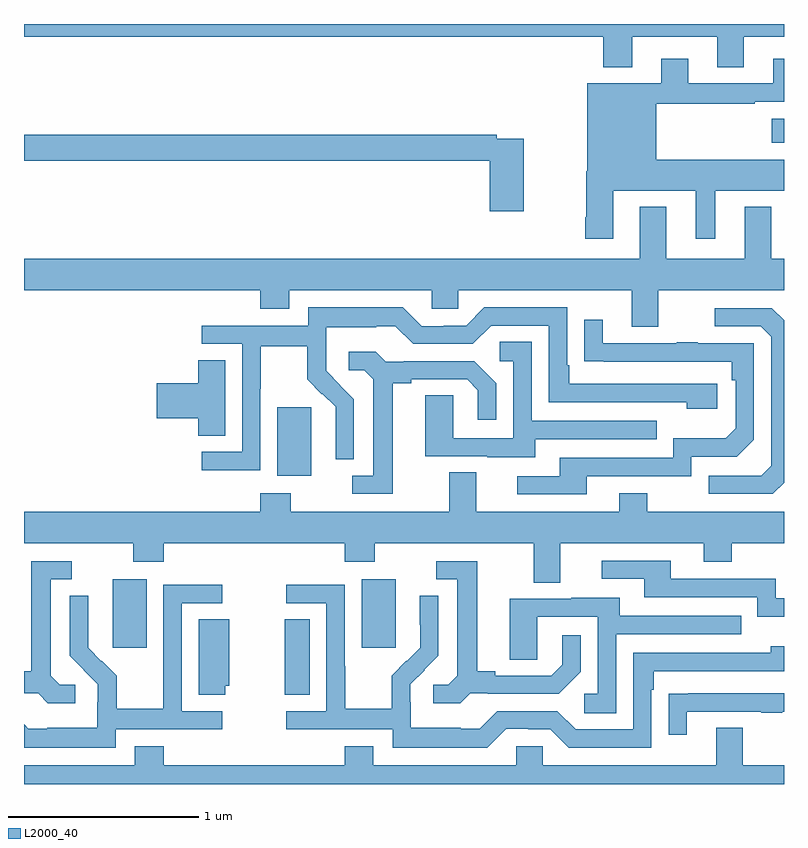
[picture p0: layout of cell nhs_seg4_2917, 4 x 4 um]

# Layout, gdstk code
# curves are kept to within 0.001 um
import gdstk
lib = gdstk.Library(unit=1e-6, precision=1e-09)
def R(c, l, rs):  # rectangles x0, y0, x1, y1
    for r in rs: c.add(gdstk.rectangle(r[:2], r[2:], *l))
def P(c, l, *ps):  # polygons
    for p in ps: c.add(gdstk.Polygon(p, *l))
L2000_40 = (2000, 40)

nhs_seg4_2917 = lib.new_cell('nhs_seg4_2917')
R(nhs_seg4_2917, L2000_40, [(266.372,781.369,266.503,781.766), (265.466,781.617,265.645,781.978), (266.777,781.617,266.956,781.978), (266.333,782.522,266.512,782.883), (268.935,784.274,269,784.402)])
P(nhs_seg4_2917, L2000_40, [(268.789,784.832),(269,784.832),(269,784.9),(265,784.9),(265,784.832),(268.049,784.832),(268.049,784.673),(268.201,784.673),(268.201,784.832),(268.649,784.832),(268.649,784.672),(268.789,784.672)],
  [(268.102,784.022),(268.535,784.022),(268.535,783.771),(268.639,783.771),(268.639,784.022),(269,784.022),(269,784.186),(268.327,784.186),(268.327,784.479),(268.847,784.479),(268.847,784.491),(269,784.491),(269,784.717),(268.943,784.717),(268.943,784.587),(268.495,784.587),(268.495,784.717),(268.355,784.717),(268.355,784.588),(267.965,784.588),(267.965,784.126),(267.958,784.126),(267.958,783.883),(267.953,783.883),(267.953,783.771),(268.102,783.771)],
  [(267.63,784.296),(267.488,784.296),(267.488,784.316),(265,784.316),(265,784.18),(267.452,784.18),(267.452,783.915),(267.63,783.915)],
  [(268.339,783.5),(269,783.5),(269,783.664),(268.933,783.664),(268.933,783.937),(268.793,783.937),(268.793,783.664),(268.381,783.664),(268.381,783.937),(268.241,783.937),(268.241,783.664),(265,783.664),(265,783.5),(266.243,783.5),(266.243,783.401),(266.395,783.401),(266.395,783.5),(267.147,783.5),(267.147,783.402),(267.285,783.402),(267.285,783.5),(268.199,783.5),(268.199,783.306),(268.339,783.306)],
  [(266.244,782.98),(266.247,782.98),(266.247,783.204),(266.491,783.204),(266.491,783.029),(266.568,782.952),(266.571,782.955),(266.642,782.885),(266.642,782.762),(266.64,782.762),(266.64,782.608),(266.736,782.608),(266.736,782.926),(266.59,783.074),(266.59,783.171),(266.592,783.171),(266.592,783.305),(266.855,783.305),(266.855,783.309),(266.955,783.309),(267.048,783.216),(267.363,783.216),(267.459,783.312),(267.762,783.312),(267.762,782.91),(268.487,782.91),(268.487,782.876),(268.648,782.876),(268.648,783.006),(267.871,783.006),(267.871,783.103),(267.858,783.103),(267.858,783.408),(267.423,783.408),(267.327,783.312),(267.209,783.312),(267.209,783.309),(267.093,783.309),(266.993,783.409),(266.496,783.409),(266.496,783.312),(265.935,783.312),(265.935,783.216),(266.148,783.216),(266.148,782.649),(265.935,782.649),(265.935,782.551),(266.244,782.551)],
  [(269,782.486),(269,783.34),(268.935,783.405),(268.635,783.405),(268.635,783.309),(268.878,783.309),(268.932,783.255),(268.932,782.574),(268.881,782.523),(268.605,782.523),(268.605,782.427),(268.941,782.427)],
  [(267.961,782.52),(268.512,782.52),(268.512,782.622),(268.752,782.622),(268.842,782.712),(268.842,783.219),(268.547,783.219),(268.547,783.224),(268.435,783.224),(268.435,783.219),(268.045,783.219),(268.045,783.343),(267.949,783.343),(267.949,783.124),(268.726,783.123),(268.726,783.026),(268.746,783.026),(268.746,782.772),(268.693,782.719),(268.416,782.719),(268.416,782.616),(267.821,782.616),(267.821,782.52),(267.597,782.52),(267.597,782.424),(267.961,782.424)],
  [(267.691,782.715),(268.331,782.715),(268.331,782.811),(267.672,782.811),(267.672,783.227),(267.504,783.227),(267.504,783.126),(267.576,783.126),(267.576,782.721),(267.258,782.721),(267.258,782.945),(267.113,782.945),(267.113,782.625),(267.437,782.625),(267.437,782.621),(267.691,782.621)],
  [(266.941,783.008),(267.037,783.008),(267.037,783.03),(267.332,783.03),(267.389,782.973),(267.389,782.817),(267.486,782.817),(267.486,783.01),(267.37,783.126),(266.998,783.126),(266.998,783.123),(266.904,783.123),(266.852,783.175),(266.709,783.175),(266.709,783.078),(266.79,783.078),(266.837,783.031),(266.837,782.523),(266.727,782.523),(266.727,782.427),(266.941,782.427)],
  [(266.059,783.131),(265.916,783.131),(265.916,783.008),(265.698,783.008),(265.698,782.825),(265.916,782.825),(265.916,782.734),(266.059,782.734)],
  [(266.403,782.431),(266.243,782.431),(266.243,782.332),(265,782.332),(265,782.168),(265.576,782.168),(265.576,782.069),(265.736,782.069),(265.736,782.168),(266.687,782.168),(266.687,782.069),(266.847,782.069),(266.847,782.168),(267.683,782.168),(267.683,781.96),(267.823,781.96),(267.823,782.168),(268.577,782.168),(268.577,782.069),(268.725,782.069),(268.725,782.168),(269,782.168),(269,782.332),(268.281,782.332),(268.281,782.431),(268.133,782.431),(268.133,782.332),(267.379,782.332),(267.379,782.54),(267.239,782.54),(267.239,782.332),(266.403,782.332)],
  [(269,781.878),(268.956,781.878),(268.956,781.98),(268.405,781.98),(268.405,782.076),(268.041,782.076),(268.041,781.98),(268.265,781.98),(268.265,781.884),(268.86,781.884),(268.86,781.781),(269,781.781)],
  [(265.27,781.422),(265.188,781.422),(265.141,781.469),(265.141,781.977),(265.252,781.977),(265.252,782.073),(265.037,782.073),(265.037,781.493),(265,781.493),(265,781.377),(265.074,781.377),(265.126,781.325),(265.27,781.325)],
  [(267.348,781.377),(267.442,781.377),(267.442,781.374),(267.814,781.374),(267.93,781.49),(267.93,781.684),(267.833,781.684),(267.833,781.527),(267.776,781.47),(267.481,781.47),(267.481,781.493),(267.385,781.493),(267.385,782.073),(267.171,782.073),(267.171,781.977),(267.281,781.977),(267.281,781.469),(267.234,781.422),(267.153,781.422),(267.153,781.325),(267.296,781.325)],
  [(267.537,781.191),(267.653,781.191),(267.653,781.188),(267.771,781.188),(267.867,781.092),(268.302,781.092),(268.302,781.397),(268.315,781.397),(268.315,781.494),(269,781.494),(269,781.624),(268.931,781.624),(268.931,781.59),(268.206,781.59),(268.206,781.188),(267.903,781.188),(267.807,781.284),(267.492,781.284),(267.399,781.191),(267.299,781.191),(267.299,781.195),(267.036,781.195),(267.036,781.329),(267.034,781.329),(267.034,781.426),(267.18,781.574),(267.18,781.892),(267.084,781.892),(267.084,781.738),(267.086,781.738),(267.086,781.616),(267.015,781.545),(267.012,781.548),(266.935,781.471),(266.935,781.297),(266.691,781.297),(266.691,781.52),(266.688,781.52),(266.688,781.95),(266.379,781.95),(266.379,781.851),(266.592,781.851),(266.592,781.284),(266.379,781.284),(266.379,781.188),(266.94,781.188),(266.94,781.091),(267.437,781.091)],
  [(265.482,781.188),(266.044,781.188),(266.044,781.284),(265.83,781.284),(265.83,781.851),(266.044,781.851),(266.044,781.95),(265.734,781.95),(265.734,781.52),(265.732,781.52),(265.732,781.297),(265.487,781.297),(265.487,781.471),(265.41,781.548),(265.407,781.545),(265.337,781.616),(265.338,781.892),(265.242,781.892),(265.242,781.574),(265.388,781.426),(265.388,781.329),(265.386,781.329),(265.386,781.195),(265.123,781.195),(265.123,781.191),(265.023,781.191),(265,781.214),(265,781.091),(265.482,781.091)],
  [(268.116,781.689),(268.775,781.689),(268.775,781.785),(268.135,781.785),(268.135,781.879),(267.881,781.879),(267.881,781.875),(267.557,781.875),(267.557,781.555),(267.702,781.555),(267.702,781.779),(268.02,781.779),(268.02,781.374),(267.948,781.374),(267.948,781.273),(268.116,781.273)],
  [(266.058,781.418),(266.08,781.418),(266.08,781.766),(265.919,781.766),(265.919,781.369),(266.058,781.369)],
  [(268.489,781.281),(268.879,781.281),(268.879,781.276),(268.991,781.276),(268.991,781.281),(269,781.281),(269,781.377),(268.495,781.377),(268.495,781.376),(268.393,781.376),(268.393,781.158),(268.489,781.158)],
  [(269,781),(268.783,781),(268.783,781.195),(268.643,781.195),(268.643,781),(267.729,781),(267.729,781.098),(267.591,781.098),(267.591,781),(266.839,781),(266.839,781.099),(266.687,781.099),(266.687,781),(265.736,781),(265.736,781.099),(265.583,781.099),(265.583,781),(265,781),(265,780.9),(269,780.9)])

lib.write_gds('nhs_seg4_2917.gds')
